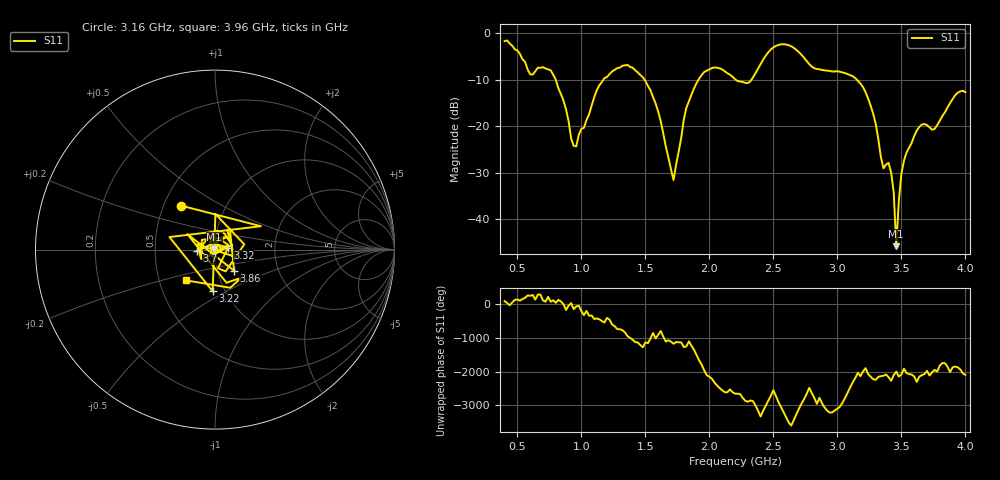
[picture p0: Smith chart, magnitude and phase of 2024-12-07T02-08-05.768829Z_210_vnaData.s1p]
!Created with skrf (http://scikit-rf.org).
# Hz S RI R 50.0
!freq ReS11 ImS11
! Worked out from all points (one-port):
!   181 points, 400 MHz to 4 GHz, reference 50 ohm
!   lowest |S11| = -45.8 dB at 3.46 GHz (marker M1), VSWR 1.01, Z = 49.5 + j0.148 ohm
!   |S11| at or under -10 dB: 799.8 MHz to 1.172 GHz (372.4 MHz wide, 37.8 % of centre); 1.493 GHz to 1.915 GHz (422.6 MHz wide, 24.8 % of centre); 3.152 GHz to end of sweep (the widest 3 of 4)
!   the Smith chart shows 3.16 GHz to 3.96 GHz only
!   S11 on the Smith chart (normalised r, x): 3.16 GHz: 0.62, +0.33; 3.22 GHz: 0.88, -0.43; 3.32 GHz: 1.15, +0.02; 3.7 GHz: 0.81, -0.01; 3.86 GHz: 1.20, -0.29; 3.96 GHz: 0.68, -0.25
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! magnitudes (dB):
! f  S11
! 400 MHz  -1.7
! 600 MHz  -8.9
! 760 MHz  -8.0
! 860 MHz  -14.5
! 960 MHz  -24.3
! 1.14 GHz  -11.2
! 1.3 GHz  -7.4
! 1.54 GHz  -12.3
! 1.72 GHz  -31.6
! 1.76 GHz  -25.5
! 1.82 GHz  -16.0
! 1.94 GHz  -9.0
! 2.2 GHz  -9.9
! 2.66 GHz  -3.2
! 3.1 GHz  -9.0
! 3.16 GHz  -10.2
! 3.22 GHz  -12.7
! 3.32 GHz  -22.8
! 3.36 GHz  -29.1
! 3.42 GHz  -30.0
! 3.44 GHz  -34.2
! 3.46 GHz  -45.8
! 3.5 GHz  -30.2
! 3.56 GHz  -24.7
! 3.7 GHz  -19.8
! 3.86 GHz  -16.0
! 3.96 GHz  -12.5
! 4 GHz  -12.7
